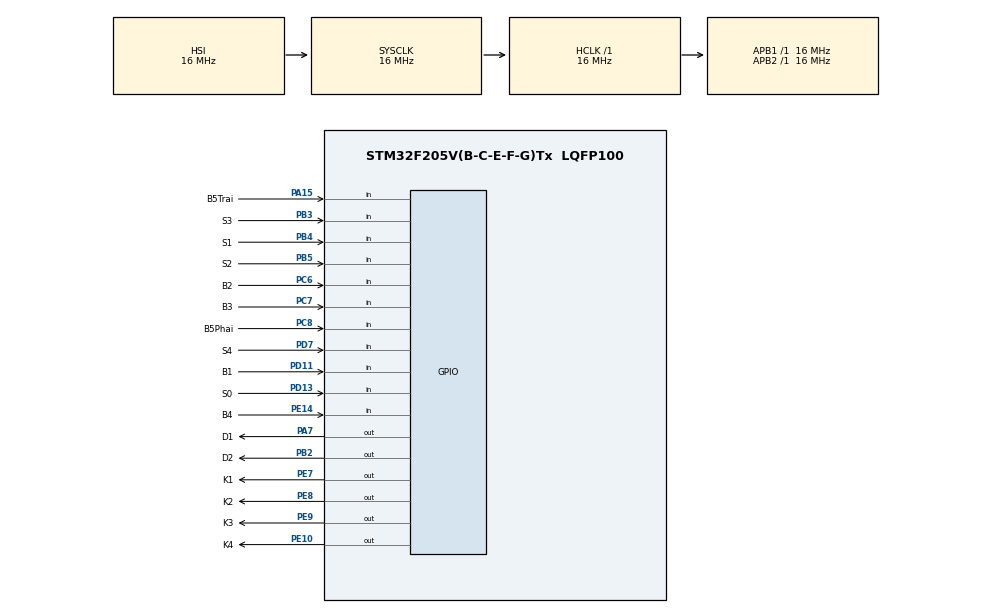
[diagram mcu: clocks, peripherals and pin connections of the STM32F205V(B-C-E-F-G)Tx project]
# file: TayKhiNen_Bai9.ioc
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Mcu.Family=STM32F2
Mcu.Name=STM32F205V(B-C-E-F-G)Tx
Mcu.Package=LQFP100
NVIC.PriorityGroup=NVIC_PRIORITYGROUP_4
PA13.Mode=Serial_Wire
PA13.Signal=SYS_JTMS-SWDIO
PA14.Mode=Serial_Wire
PA14.Signal=SYS_JTCK-SWCLK
PA15.GPIO_Label=B5Trai
PA15.GPIO_PuPd=GPIO_PULLUP
PA15.Signal=GPIO_Input
PA7.GPIO_Label=D1
PA7.PinState=GPIO_PIN_SET
PA7.Signal=GPIO_Output
PB2.GPIO_Label=D2
PB2.PinState=GPIO_PIN_SET
PB2.Signal=GPIO_Output
PB3.GPIO_Label=S3
PB3.Signal=GPIO_Input
PB4.GPIO_Label=S1
PB4.Signal=GPIO_Input
PB5.GPIO_Label=S2
PB5.Signal=GPIO_Input
PC6.GPIO_Label=B2
PC6.GPIO_PuPd=GPIO_PULLUP
PC6.Signal=GPIO_Input
PC7.GPIO_Label=B3
PC7.GPIO_PuPd=GPIO_PULLUP
PC7.Signal=GPIO_Input
PC8.GPIO_Label=B5Phai
PC8.Signal=GPIO_Input
PD11.GPIO_Label=B1
PD11.GPIO_PuPd=GPIO_PULLUP
PD11.Signal=GPIO_Input
PD13.GPIO_Label=S0
PD13.GPIO_PuPd=GPIO_PULLUP
PD13.Signal=GPIO_Input
PD7.GPIO_Label=S4
PD7.Signal=GPIO_Input
PE10.GPIO_Label=K4
PE10.GPIO_PuPd=GPIO_PULLUP
PE10.Signal=GPIO_Output
PE14.GPIO_Label=B4
PE14.GPIO_PuPd=GPIO_PULLUP
PE14.Signal=GPIO_Input
PE7.GPIO_Label=K1
PE7.GPIO_PuPd=GPIO_PULLUP
PE7.Signal=GPIO_Output
PE8.GPIO_Label=K2
PE8.GPIO_PuPd=GPIO_PULLUP
PE8.Signal=GPIO_Output
PE9.GPIO_Label=K3
PE9.GPIO_PuPd=GPIO_PULLUP
PE9.Signal=GPIO_Output
ProjectManager.HeapSize=0x200
ProjectManager.StackSize=0x400
ProjectManager.TargetToolchain=MDK-ARM V5.32
RCC.48MHZClocksFreq_Value=48000000
RCC.AHBFreq_Value=16000000
RCC.APB1Freq_Value=16000000
RCC.APB2Freq_Value=16000000
RCC.CortexFreq_Value=16000000
RCC.HSE_VALUE=25000000
RCC.HSI_VALUE=16000000
RCC.LSE_VALUE=32768
RCC.SYSCLKFreq_VALUE=16000000
RCC.VCOOutputFreq_Value=192000000
board=custom

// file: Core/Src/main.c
/* USER CODE BEGIN Header */
/**
  ******************************************************************************
  * @file           : main.c
  * @brief          : Main program body
  ******************************************************************************
  * @attention
  *
  * Copyright (c) 2023 STMicroelectronics.
  * All rights reserved.
  *
  * This software is licensed under terms that can be found in the LICENSE file
  * in the root directory of this software component.
  * If no LICENSE file comes with this software, it is provided AS-IS.
  *
  ******************************************************************************
  */
/* USER CODE END Header */
#include "main.h"

/* USER CODE BEGIN Includes */
#define S0_VALID   GPIO_PIN_RESET
#define S1_VALID   GPIO_PIN_SET
#define S2_VALID   GPIO_PIN_SET
#define S3_VALID   GPIO_PIN_RESET
#define S4_VALID   GPIO_PIN_RESET

/* USER CODE END Includes */

void SystemClock_Config(void);
static void MX_GPIO_Init(void);

int main(void)
{

  /* MCU Configuration--------------------------------------------------------*/

  /* Reset of all peripherals, Initializes the Flash interface and the Systick. */
  HAL_Init();

  /* Configure the system clock */
  SystemClock_Config();

  /* Initialize all configured peripherals */
  MX_GPIO_Init();
  /* USER CODE BEGIN 2 */
	uint8_t B1 = 0;
	uint8_t B2 = 0;
	uint8_t B3 = 0;
	uint8_t B4 = 0;
	uint8_t B5T = 0;
	uint8_t B5P = 0;
	uint8_t S0 = 0;
	uint8_t S1 = 0;
	uint8_t S2 = 0;
	uint8_t S3 = 0;
	uint8_t S4 = 0;
	uint8_t sysState = 0;
	uint32_t Delay_cnt=0;
	HAL_GPIO_WritePin(D1_GPIO_Port,D1_Pin,GPIO_PIN_SET);
	HAL_GPIO_WritePin(D2_GPIO_Port,D2_Pin,GPIO_PIN_SET);

  /* USER CODE END 2 */

  /* Infinite loop */
  while (1)
  {

    /* USER CODE BEGIN 3 */

		B1 = HAL_GPIO_ReadPin(B1_GPIO_Port,B1_Pin);
		B2 = HAL_GPIO_ReadPin(B2_GPIO_Port,B2_Pin);
		B3 = HAL_GPIO_ReadPin(B3_GPIO_Port,B3_Pin);
		B4 = HAL_GPIO_ReadPin(B4_GPIO_Port,B4_Pin);
		B5T = HAL_GPIO_ReadPin(B5Trai_GPIO_Port,B5Trai_Pin);
		S0 = HAL_GPIO_ReadPin(S0_GPIO_Port,S0_Pin);
		S1 = HAL_GPIO_ReadPin(S1_GPIO_Port,S1_Pin);
		S2 = HAL_GPIO_ReadPin(S2_GPIO_Port,S2_Pin);
		S3 = HAL_GPIO_ReadPin(S3_GPIO_Port,S3_Pin);
		S4 = HAL_GPIO_ReadPin(S4_GPIO_Port,S4_Pin);

		if ((sysState == 0)&&(B1==GPIO_PIN_RESET))
			sysState=1;
		else if ((sysState == 1)&&(B2==GPIO_PIN_RESET))
			sysState = 2;
		else if ((sysState == 2) || sysState == 0 &&(B3==GPIO_PIN_RESET))
			sysState = 3;
		else if ((sysState == 3)&&(B3==GPIO_PIN_SET))
			sysState = 0;
		else if ((sysState == 1) || sysState == 3 &&(B4==GPIO_PIN_RESET))
			sysState = 4;
		else if ((sysState == 4)&&(B3==GPIO_PIN_SET))
			sysState = 1;

		if(sysState == 0) HAL_GPIO_WritePin(K2_GPIO_Port,K2_Pin,GPIO_PIN_SET);

		else if(sysState==1){
			HAL_GPIO_WritePin(K2_GPIO_Port,K2_Pin,GPIO_PIN_RESET);
		}
		else if(sysState == 2){
			HAL_GPIO_WritePin(K2_GPIO_Port,K2_Pin,GPIO_PIN_SET);
		}
		else if(sysState ==3){
			HAL_GPIO_WritePin(K2_GPIO_Port,K2_Pin,GPIO_PIN_RESET);
		}
		else if(sysState ==4){
			HAL_GPIO_WritePin(K2_GPIO_Port,K2_Pin,GPIO_PIN_SET);
		}

		// State control
		/*
		if ((sysState == 0)&&(S0!=S0_VALID))
			sysState=1;
		else if ((sysState == 1)&&(Delay_cnt==1000))
			sysState = 2;
		else if ((sysState == 2)&&(S2 != S2_VALID))
			sysState = 31;
		else if (((sysState == 2)||(sysState == 31))&&(S2 == S2_VALID))
			sysState = 32;
		else if ((sysState == 32)&&(S4 != S4_VALID))
			sysState = 4;
		else if ((sysState == 4)&&(S4 == S4_VALID))
			sysState = 5;
		else if ((sysState == 5)&&(S1 != S1_VALID))
			sysState = 6;
		else if ((sysState == 6)&&(S1 == S1_VALID))
			sysState = 7;
		else if ((sysState == 7)&&(Delay_cnt==1000))
			sysState = 8;
		else if ((sysState == 8)&&(S2!=S2_VALID))
			sysState = 9;
		else if ((sysState == 9)&&(S2==S2_VALID))
			sysState = 10;
		else if ((sysState == 10)&&(S3!=S3_VALID))
			sysState = 11;
		else if ((sysState == 11)&&(S3==S3_VALID))
			sysState = 12;
		else if ((sysState == 12)&&(S1!=S1_VALID))
			sysState = 13;
		else if ((sysState == 13)&&(S1==S1_VALID))
			sysState = 14;
		else if ((sysState == 14)&&(Delay_cnt==1000))
			sysState = 0;

		// Output
		if (sysState==0) {
			Delay_cnt=0;
		}
		else if (sysState==1) {
			HAL_GPIO_WritePin(K1_GPIO_Port,K1_Pin,GPIO_PIN_SET);
			if (Delay_cnt<1000) {
				HAL_Delay(1);
				Delay_cnt = Delay_cnt + 1;
			}
		}
		else if (sysState==2) {

		}
		else if (sysState==31) {
			HAL_GPIO_WritePin(K2_GPIO_Port,K2_Pin,GPIO_PIN_SET);
		}
		else if (sysState==32) {
			HAL_GPIO_WritePin(K3_GPIO_Port,K3_Pin,GPIO_PIN_SET);
			HAL_GPIO_WritePin(K4_GPIO_Port,K4_Pin,GPIO_PIN_RESET);
		}
		else if (sysState==4) {
			HAL_GPIO_WritePin(K3_GPIO_Port,K3_Pin,GPIO_PIN_SET);
			HAL_GPIO_WritePin(K4_GPIO_Port,K4_Pin,GPIO_PIN_RESET);
		}
		else if (sysState==5) {
			HAL_GPIO_WritePin(K2_GPIO_Port,K2_Pin,GPIO_PIN_RESET);
		}
		else if (sysState==6) {
			HAL_GPIO_WritePin(K2_GPIO_Port,K2_Pin,GPIO_PIN_RESET);
			Delay_cnt=0;
		}
		else if (sysState==7) {
			HAL_GPIO_WritePin(K1_GPIO_Port,K1_Pin,GPIO_PIN_RESET);
			if (Delay_cnt<1000) {
				HAL_Delay(1);
				Delay_cnt = Delay_cnt + 1;
			}
		}
		else if (sysState==8) {
			HAL_GPIO_WritePin(K2_GPIO_Port,K2_Pin,GPIO_PIN_SET);
		}
		else if (sysState==9) {
			HAL_GPIO_WritePin(K2_GPIO_Port,K2_Pin,GPIO_PIN_SET);
		}
		else if (sysState==10) {
			HAL_GPIO_WritePin(K3_GPIO_Port,K3_Pin,GPIO_PIN_RESET);
			HAL_GPIO_WritePin(K4_GPIO_Port,K4_Pin,GPIO_PIN_SET);
		}
		else if (sysState==11) {

		}
		else if (sysState==12) {
			HAL_GPIO_WritePin(K2_GPIO_Port,K2_Pin,GPIO_PIN_RESET);
		}
		else if (sysState==13) {
			HAL_GPIO_WritePin(K2_GPIO_Port,K2_Pin,GPIO_PIN_RESET);
			Delay_cnt=0;
		}
		else if (sysState==14) {
			HAL_GPIO_WritePin(K1_GPIO_Port,K1_Pin,GPIO_PIN_SET);
			if (Delay_cnt<1000) {
				HAL_Delay(1);
				Delay_cnt = Delay_cnt + 1;
			}
		}				*/
  }
  /* USER CODE END 3 */
}

void SystemClock_Config(void)
{
  RCC_OscInitTypeDef RCC_OscInitStruct = {0};
  RCC_ClkInitTypeDef RCC_ClkInitStruct = {0};

  /** Initializes the RCC Oscillators according to the specified parameters
  * in the RCC_OscInitTypeDef structure.
  */
  RCC_OscInitStruct.OscillatorType = RCC_OSCILLATORTYPE_HSI;
  RCC_OscInitStruct.HSIState = RCC_HSI_ON;
  RCC_OscInitStruct.HSICalibrationValue = RCC_HSICALIBRATION_DEFAULT;
  RCC_OscInitStruct.PLL.PLLState = RCC_PLL_NONE;
  if (HAL_RCC_OscConfig(&RCC_OscInitStruct) != HAL_OK)
  {
    Error_Handler();
  }

  /** Initializes the CPU, AHB and APB buses clocks
  */
  RCC_ClkInitStruct.ClockType = RCC_CLOCKTYPE_HCLK|RCC_CLOCKTYPE_SYSCLK
                              |RCC_CLOCKTYPE_PCLK1|RCC_CLOCKTYPE_PCLK2;
  RCC_ClkInitStruct.SYSCLKSource = RCC_SYSCLKSOURCE_HSI;
  RCC_ClkInitStruct.AHBCLKDivider = RCC_SYSCLK_DIV1;
  RCC_ClkInitStruct.APB1CLKDivider = RCC_HCLK_DIV1;
  RCC_ClkInitStruct.APB2CLKDivider = RCC_HCLK_DIV1;

  if (HAL_RCC_ClockConfig(&RCC_ClkInitStruct, FLASH_LATENCY_0) != HAL_OK)
  {
    Error_Handler();
  }
}

static void MX_GPIO_Init(void)
{
  GPIO_InitTypeDef GPIO_InitStruct = {0};

  /* GPIO Ports Clock Enable */
  __HAL_RCC_GPIOE_CLK_ENABLE();
  __HAL_RCC_GPIOC_CLK_ENABLE();
  __HAL_RCC_GPIOH_CLK_ENABLE();
  __HAL_RCC_GPIOA_CLK_ENABLE();
  __HAL_RCC_GPIOB_CLK_ENABLE();
  __HAL_RCC_GPIOD_CLK_ENABLE();

  /*Configure GPIO pin Output Level */
  HAL_GPIO_WritePin(D1_GPIO_Port, D1_Pin, GPIO_PIN_SET);

  /*Configure GPIO pin Output Level */
  HAL_GPIO_WritePin(D2_GPIO_Port, D2_Pin, GPIO_PIN_SET);

  /*Configure GPIO pin Output Level */
  HAL_GPIO_WritePin(GPIOE, K1_Pin|K2_Pin|K3_Pin|K4_Pin, GPIO_PIN_RESET);

  /*Configure GPIO pins : PE2 PE3 PE4 PE5
                           PE6 PE11 PE12 PE13
                           PE15 PE0 PE1 */
  GPIO_InitStruct.Pin = GPIO_PIN_2|GPIO_PIN_3|GPIO_PIN_4|GPIO_PIN_5
                          |GPIO_PIN_6|GPIO_PIN_11|GPIO_PIN_12|GPIO_PIN_13
                          |GPIO_PIN_15|GPIO_PIN_0|GPIO_PIN_1;
  GPIO_InitStruct.Mode = GPIO_MODE_ANALOG;
  GPIO_InitStruct.Pull = GPIO_NOPULL;
  HAL_GPIO_Init(GPIOE, &GPIO_InitStruct);

  /*Configure GPIO pins : PC13 PC14 PC15 PC0
                           PC1 PC2 PC3 PC4
                           PC5 PC9 PC10 PC11
                           PC12 */
  GPIO_InitStruct.Pin = GPIO_PIN_13|GPIO_PIN_14|GPIO_PIN_15|GPIO_PIN_0
                          |GPIO_PIN_1|GPIO_PIN_2|GPIO_PIN_3|GPIO_PIN_4
                          |GPIO_PIN_5|GPIO_PIN_9|GPIO_PIN_10|GPIO_PIN_11
                          |GPIO_PIN_12;
  GPIO_InitStruct.Mode = GPIO_MODE_ANALOG;
  GPIO_InitStruct.Pull = GPIO_NOPULL;
  HAL_GPIO_Init(GPIOC, &GPIO_InitStruct);

  /*Configure GPIO pins : PH0 PH1 */
  GPIO_InitStruct.Pin = GPIO_PIN_0|GPIO_PIN_1;
  GPIO_InitStruct.Mode = GPIO_MODE_ANALOG;
  GPIO_InitStruct.Pull = GPIO_NOPULL;
  HAL_GPIO_Init(GPIOH, &GPIO_InitStruct);

  /*Configure GPIO pins : PA0 PA1 PA2 PA3
                           PA4 PA5 PA6 PA8
                           PA9 PA10 PA11 PA12 */
  GPIO_InitStruct.Pin = GPIO_PIN_0|GPIO_PIN_1|GPIO_PIN_2|GPIO_PIN_3
                          |GPIO_PIN_4|GPIO_PIN_5|GPIO_PIN_6|GPIO_PIN_8
                          |GPIO_PIN_9|GPIO_PIN_10|GPIO_PIN_11|GPIO_PIN_12;
  GPIO_InitStruct.Mode = GPIO_MODE_ANALOG;
  GPIO_InitStruct.Pull = GPIO_NOPULL;
  HAL_GPIO_Init(GPIOA, &GPIO_InitStruct);

  /*Configure GPIO pin : D1_Pin */
  GPIO_InitStruct.Pin = D1_Pin;
  GPIO_InitStruct.Mode = GPIO_MODE_OUTPUT_PP;
  GPIO_InitStruct.Pull = GPIO_NOPULL;
  GPIO_InitStruct.Speed = GPIO_SPEED_FREQ_LOW;
  HAL_GPIO_Init(D1_GPIO_Port, &GPIO_InitStruct);

  /*Configure GPIO pins : PB0 PB1 PB10 PB11
                           PB12 PB13 PB14 PB15
                           PB6 PB7 PB8 PB9 */
  GPIO_InitStruct.Pin = GPIO_PIN_0|GPIO_PIN_1|GPIO_PIN_10|GPIO_PIN_11
                          |GPIO_PIN_12|GPIO_PIN_13|GPIO_PIN_14|GPIO_PIN_15
                          |GPIO_PIN_6|GPIO_PIN_7|GPIO_PIN_8|GPIO_PIN_9;
  GPIO_InitStruct.Mode = GPIO_MODE_ANALOG;
  GPIO_InitStruct.Pull = GPIO_NOPULL;
  HAL_GPIO_Init(GPIOB, &GPIO_InitStruct);

  /*Configure GPIO pin : D2_Pin */
  GPIO_InitStruct.Pin = D2_Pin;
  GPIO_InitStruct.Mode = GPIO_MODE_OUTPUT_PP;
  GPIO_InitStruct.Pull = GPIO_NOPULL;
  GPIO_InitStruct.Speed = GPIO_SPEED_FREQ_LOW;
  HAL_GPIO_Init(D2_GPIO_Port, &GPIO_InitStruct);

  /*Configure GPIO pins : K1_Pin K2_Pin K3_Pin K4_Pin */
  GPIO_InitStruct.Pin = K1_Pin|K2_Pin|K3_Pin|K4_Pin;
  GPIO_InitStruct.Mode = GPIO_MODE_OUTPUT_PP;
  GPIO_InitStruct.Pull = GPIO_PULLUP;
  GPIO_InitStruct.Speed = GPIO_SPEED_FREQ_LOW;
  HAL_GPIO_Init(GPIOE, &GPIO_InitStruct);

  /*Configure GPIO pin : B4_Pin */
  GPIO_InitStruct.Pin = B4_Pin;
  GPIO_InitStruct.Mode = GPIO_MODE_INPUT;
  GPIO_InitStruct.Pull = GPIO_PULLUP;
  HAL_GPIO_Init(B4_GPIO_Port, &GPIO_InitStruct);

  /*Configure GPIO pins : PD8 PD9 PD10 PD12
                           PD14 PD15 PD0 PD1
                           PD2 PD3 PD4 PD5
                           PD6 */
  GPIO_InitStruct.Pin = GPIO_PIN_8|GPIO_PIN_9|GPIO_PIN_10|GPIO_PIN_12
                          |GPIO_PIN_14|GPIO_PIN_15|GPIO_PIN_0|GPIO_PIN_1
                          |GPIO_PIN_2|GPIO_PIN_3|GPIO_PIN_4|GPIO_PIN_5
                          |GPIO_PIN_6;
  GPIO_InitStruct.Mode = GPIO_MODE_ANALOG;
  GPIO_InitStruct.Pull = GPIO_NOPULL;
  HAL_GPIO_Init(GPIOD, &GPIO_InitStruct);

  /*Configure GPIO pins : B1_Pin S0_Pin */
  GPIO_InitStruct.Pin = B1_Pin|S0_Pin;
  GPIO_InitStruct.Mode = GPIO_MODE_INPUT;
  GPIO_InitStruct.Pull = GPIO_PULLUP;
  HAL_GPIO_Init(GPIOD, &GPIO_InitStruct);

  /*Configure GPIO pins : B2_Pin B3_Pin */
  GPIO_InitStruct.Pin = B2_Pin|B3_Pin;
  GPIO_InitStruct.Mode = GPIO_MODE_INPUT;
  GPIO_InitStruct.Pull = GPIO_PULLUP;
  HAL_GPIO_Init(GPIOC, &GPIO_InitStruct);

  /*Configure GPIO pin : B5Phai_Pin */
  GPIO_InitStruct.Pin = B5Phai_Pin;
  GPIO_InitStruct.Mode = GPIO_MODE_INPUT;
  GPIO_InitStruct.Pull = GPIO_NOPULL;
  HAL_GPIO_Init(B5Phai_GPIO_Port, &GPIO_InitStruct);

  /*Configure GPIO pin : B5Trai_Pin */
  GPIO_InitStruct.Pin = B5Trai_Pin;
  GPIO_InitStruct.Mode = GPIO_MODE_INPUT;
  GPIO_InitStruct.Pull = GPIO_PULLUP;
  HAL_GPIO_Init(B5Trai_GPIO_Port, &GPIO_InitStruct);

  /*Configure GPIO pin : S4_Pin */
  GPIO_InitStruct.Pin = S4_Pin;
  GPIO_InitStruct.Mode = GPIO_MODE_INPUT;
  GPIO_InitStruct.Pull = GPIO_NOPULL;
  HAL_GPIO_Init(S4_GPIO_Port, &GPIO_InitStruct);

  /*Configure GPIO pins : S3_Pin S1_Pin S2_Pin */
  GPIO_InitStruct.Pin = S3_Pin|S1_Pin|S2_Pin;
  GPIO_InitStruct.Mode = GPIO_MODE_INPUT;
  GPIO_InitStruct.Pull = GPIO_NOPULL;
  HAL_GPIO_Init(GPIOB, &GPIO_InitStruct);

}

void Error_Handler(void)
{
  __disable_irq();
  while (1)
  {
  }
}
